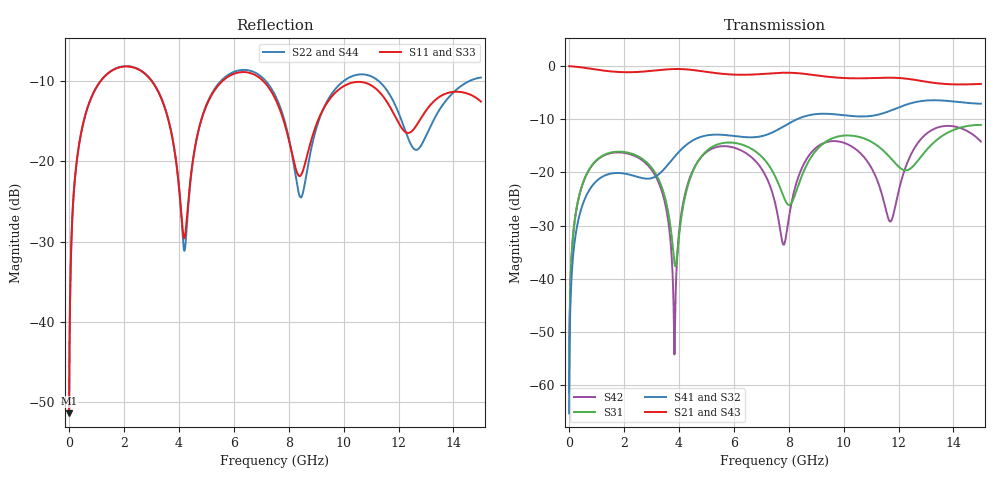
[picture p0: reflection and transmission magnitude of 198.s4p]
! Created with skrf 1.8.0 (http://scikit-rf.org).
# GHz S RI R 50.0
!freq ReS11 ImS11 ReS12 ImS12 ReS13 ImS13
! ReS14 ImS14
! ReS21 ImS21 ReS22 ImS22 ReS23 ImS23
! ReS24 ImS24
! ReS31 ImS31 ReS32 ImS32 ReS33 ImS33
! ReS34 ImS34
! ReS41 ImS41 ReS42 ImS42 ReS43 ImS43
! ReS44 ImS44
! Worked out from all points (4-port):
!   2499 points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, 5 MHz to 15 GHz, reference 50 ohm
!   strongest paths, dB at 5 MHz, 3.476 GHz, 7.19 GHz, 11.1 GHz, 15 GHz:
!     S21: 0.0, -0.7, -1.4, -2.2, -3.4
!     S43: 0.0, -0.7, -1.4, -2.2, -3.3
!     S41: -65.3, -19.3, -12.9, -9.3, -7.1
!     S32: -65.3, -19.3, -12.9, -9.3, -7.1
!     S31: -61.4, -24.3, -18.1, -14.5, -11.1
!     S42: -61.4, -25.3, -20.9, -20.0, -14.2
!   lowest |S11| = -51.4 dB at 5 MHz (marker M1), VSWR 1.01, Z = 50.2 + j0.163 ohm
!   |S11| at or under -10 dB: start of sweep to 1.144 GHz; 3.022 GHz to 5.575 GHz (2.553 GHz wide, 59.4 % of centre); 7.087 GHz to end of sweep
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0.005  0.00213 0.00162  0.9978 -0.00415  0.000109 0.000846  -0.000106 -0.000531
       0.9978 -0.00415  0.00213 0.00162  -0.000106 -0.000531  0.000109 0.000846
       0.000109 0.000846  -0.000106 -0.000531  0.00213 0.00162  0.9978 -0.00415
       -0.000106 -0.000531  0.000109 0.000846  0.9978 -0.00415  0.00213 0.00162
1.269279  0.2896 0.1695  0.5049 -0.7525  0.1361 0.0517  -0.0925 0.000995
          0.5049 -0.7525  0.2911 0.1683  -0.0925 0.00101  0.1319 0.058
          0.1361 0.0517  -0.0925 0.00101  0.2895 0.1694  0.505 -0.7525
          -0.0925 0.000995  0.1319 0.058  0.505 -0.7525  0.2911 0.1683
3.839545  0.06 -0.1017  -0.879 -0.3269  -0.0126 -0.00681  -0.0446 0.1326
          -0.879 -0.3269  0.0549 -0.1057  -0.0443 0.1327  -0.00183 -0.000622
          -0.0126 -0.00681  -0.0443 0.1327  0.0602 -0.1005  -0.8792 -0.3268
          -0.0446 0.1326  -0.00183 -0.000622  -0.8792 -0.3268  0.0539 -0.1049
4.852022  0.125 0.1422  -0.8101 0.378  0.1075 0.0958  0.1203 0.1816
          -0.8101 0.378  0.1236 0.1451  0.1206 0.1813  0.0991 0.1028
          0.1075 0.0958  0.1206 0.1813  0.1263 0.1428  -0.8099 0.3779
          0.1203 0.1816  0.0991 0.1028  -0.8099 0.3779  0.1233 0.1467
8.403501  0.081 -0.00345  0.8423 0.1422  -0.0139 0.0812  0.0474 -0.3206
          0.8423 0.1422  0.0589 -0.0142  0.0464 -0.3207  0.00121 0.0983
          -0.0139 0.0812  0.0464 -0.3207  0.0813 -0.00383  0.842 0.1443
          0.0474 -0.3206  0.00121 0.0983  0.842 0.1443  0.0588 -0.0143
11.11088  0.2844 -0.0604  -0.1308 -0.761  0.0538 -0.1794  -0.3299 0.0943
          -0.1308 -0.761  0.3202 -0.0919  -0.3295 0.0965  0.0633 -0.0757
          0.0538 -0.1794  -0.3295 0.0965  0.2851 -0.0567  -0.1269 -0.7618
          -0.3299 0.0943  0.0633 -0.0757  -0.1269 -0.7618  0.3202 -0.0924
15  0.2241 -0.0761  -0.1349 0.6656  0.1844 -0.2098  0.4422 0.00584
    -0.1349 0.6656  0.3307 -0.0472  0.4409 0.00356  0.1945 -0.0172
    0.1844 -0.2098  0.4409 0.00356  0.2215 -0.0772  -0.1443 0.6655
    0.4422 0.00584  0.1945 -0.0172  -0.1443 0.6655  0.326 -0.0398
